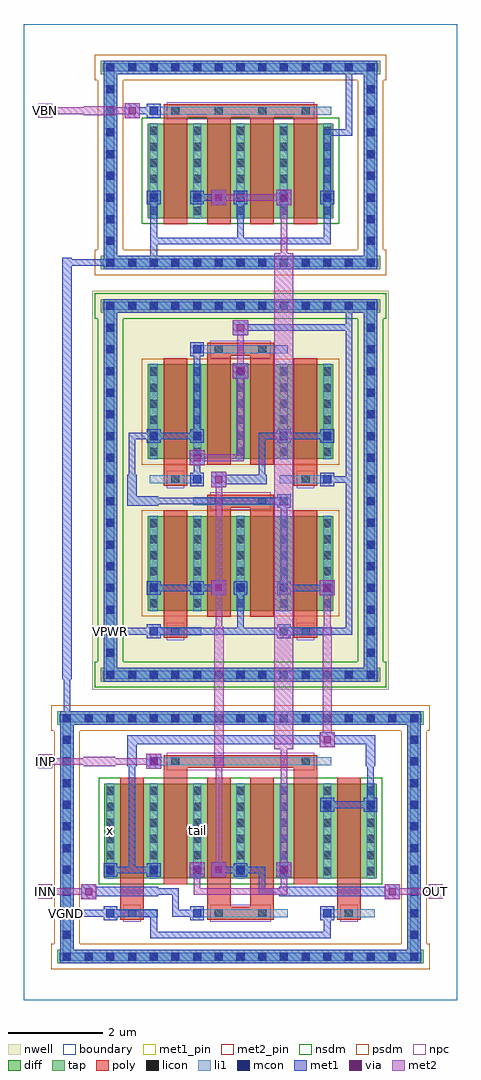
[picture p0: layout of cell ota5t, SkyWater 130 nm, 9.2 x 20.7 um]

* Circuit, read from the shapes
.subckt ota5t INN INP OUT VBN VGND VPWR tail x
XM1 x VGND x VGND sky130_fd_pr__nfet_01v8 w=2 l=0.5 m=2
XM2 tail INP x VGND sky130_fd_pr__nfet_01v8 w=2 l=0.5 m=2
XM3 tail VBN VGND VGND sky130_fd_pr__nfet_01v8 w=2 l=0.5 m=4
XM4 OUT INN tail VGND sky130_fd_pr__nfet_01v8 w=2 l=0.5 m=2
XM5 OUT VPWR OUT VPWR sky130_fd_pr__pfet_01v8 w=2 l=0.5 m=2
XM6 x VPWR x VPWR sky130_fd_pr__pfet_01v8 w=2 l=0.5 m=2
XM7 VPWR x OUT VPWR sky130_fd_pr__pfet_01v8 w=2 l=0.5 m=2
XM8 VPWR x x VPWR sky130_fd_pr__pfet_01v8 w=2 l=0.5 m=2
.ends

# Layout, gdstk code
import gdstk
lib = gdstk.Library(unit=1e-6, precision=1e-09)
def R(c, l, rs):  # rectangles x0, y0, x1, y1
    for r in rs: c.add(gdstk.rectangle(r[:2], r[2:], *l))
def A(c, l, x, y, w, h, nx, ny, dx, dy):  # array of equal rectangles
    R(c, l, [(x+i*dx, y+j*dy, x+i*dx+w, y+j*dy+h) for i in range(nx) for j in range(ny)])
nwell = (64, 20)
diff = (65, 20)
tap = (65, 44)
poly = (66, 20)
licon = (66, 44)
li1 = (67, 20)
mcon = (67, 44)
met1_pin = (68, 16)
met1 = (68, 20)
via = (68, 44)
met2_pin = (69, 16)
met2 = (69, 20)
nsdm = (93, 44)
psdm = (94, 20)
npc = (95, 20)
boundary = (235, 4)

ota5t = lib.new_cell('ota5t')
R(ota5t, nwell, [(1.455,6.575,7.745,15.045)])
R(ota5t, diff, [(1.715,2.585,7.485,4.585), (2.635,8.26,6.565,10.26), (2.635,11.48,6.565,13.48), (2.635,16.585,6.565,18.585)])
R(ota5t, tap, [(0.715,0.775,8.485,1.065), (0.775,0.775,1.065,6.125), (8.135,0.775,8.425,6.125), (0.715,5.835,8.485,6.125), (1.635,6.755,7.565,7.045), (1.695,6.755,1.985,14.865), (7.215,6.755,7.505,14.865), (1.635,14.575,7.565,14.865), (1.635,15.495,7.565,15.785), (1.695,15.495,1.985,19.925), (7.215,15.495,7.505,19.925), (1.635,19.635,7.565,19.925)])
A(ota5t, poly, 2.97, 16.455, 0.5, 2.405, 4, 1, 0.92, 0)
R(ota5t, poly, [(2.05,1.705,2.55,1.975), (3.89,1.705,5.31,1.975), (6.65,1.705,7.15,1.975), (2.05,1.84,2.55,4.715), (3.89,1.84,4.39,4.715), (4.81,1.84,5.31,4.715), (6.65,1.84,7.15,4.715), (2.97,2.455,3.47,5.06), (5.73,2.455,6.23,5.06), (2.97,4.925,6.23,5.195), (2.97,7.685,3.47,7.955), (5.73,7.685,6.23,7.955), (2.97,7.82,3.47,10.39), (5.73,7.82,6.23,10.39), (3.89,8.13,4.39,10.58), (4.81,8.13,5.31,10.58), (3.89,10.445,5.31,10.715), (2.97,10.905,3.47,11.175), (5.73,10.905,6.23,11.175), (2.97,11.04,3.47,13.61), (5.73,11.04,6.23,13.61), (3.89,11.35,4.39,13.8), (4.81,11.35,5.31,13.8), (3.89,13.665,5.31,13.935), (2.97,18.725,6.23,18.995)])
A(ota5t, licon, 0.835, 0.835, 0.17, 0.17, 17, 2, 0.46, 5.06)
A(ota5t, licon, 0.835, 1.295, 0.17, 0.17, 1, 10, 0, 0.46)
A(ota5t, licon, 8.195, 1.295, 0.17, 0.17, 1, 10, 0, 0.46)
A(ota5t, licon, 1.755, 2.65, 0.17, 0.17, 7, 6, 0.92, 0.34)
A(ota5t, licon, 1.755, 6.815, 0.17, 0.17, 13, 2, 0.46, 7.82)
A(ota5t, licon, 1.755, 7.275, 0.17, 0.17, 1, 16, 0, 0.46)
A(ota5t, licon, 7.275, 7.275, 0.17, 0.17, 1, 16, 0, 0.46)
A(ota5t, licon, 2.675, 8.325, 0.17, 0.17, 5, 6, 0.92, 0.34)
A(ota5t, licon, 2.675, 11.545, 0.17, 0.17, 5, 6, 0.92, 0.34)
A(ota5t, licon, 1.755, 15.555, 0.17, 0.17, 13, 2, 0.46, 4.14)
A(ota5t, licon, 1.755, 16.015, 0.17, 0.17, 1, 8, 0, 0.46)
A(ota5t, licon, 7.275, 16.015, 0.17, 0.17, 1, 8, 0, 0.46)
A(ota5t, licon, 2.675, 16.65, 0.17, 0.17, 5, 6, 0.92, 0.34)
A(ota5t, licon, 3.135, 18.775, 0.17, 0.17, 4, 1, 0.92, 0)
R(ota5t, licon, [(2.215,1.755,2.385,1.925), (4.055,1.755,4.225,1.925), (4.975,1.755,5.145,1.925), (6.815,1.755,6.985,1.925), (3.135,4.975,3.305,5.145), (5.895,4.975,6.065,5.145), (3.135,7.735,3.305,7.905), (5.895,7.735,6.065,7.905), (4.055,10.495,4.225,10.665), (4.975,10.495,5.145,10.665), (3.135,10.955,3.305,11.125), (5.895,10.955,6.065,11.125), (4.055,13.715,4.225,13.885), (4.975,13.715,5.145,13.885)])
A(ota5t, li1, 1.755, 2.57, 0.17, 2.03, 7, 1, 0.92, 0)
A(ota5t, li1, 2.675, 8.245, 0.17, 2.03, 5, 2, 0.92, 3.22)
A(ota5t, li1, 2.675, 16.57, 0.17, 2.03, 5, 1, 0.92, 0)
R(ota5t, li1, [(0.755,0.835,8.445,1.005), (0.835,0.835,1.005,6.065), (8.195,0.835,8.365,6.065), (1.755,1.755,2.845,1.925), (3.595,1.755,5.605,1.925), (6.355,1.755,7.445,1.925), (2.675,4.975,6.525,5.145), (0.755,5.895,8.445,6.065), (1.675,6.815,7.525,6.985), (1.755,6.815,1.925,14.805), (7.275,6.815,7.445,14.805), (2.675,7.735,3.765,7.905), (5.435,7.735,6.525,7.905), (3.595,10.495,5.605,10.665), (2.675,10.955,3.765,11.125), (5.435,10.955,6.525,11.125), (3.595,13.715,5.605,13.885), (1.675,14.635,7.525,14.805), (1.675,15.555,7.525,15.725), (1.755,15.555,1.925,19.865), (7.275,15.555,7.445,19.865), (2.675,18.775,6.525,18.945), (1.675,19.695,7.525,19.865)])
A(ota5t, mcon, 0.835, 0.835, 0.17, 0.17, 17, 2, 0.46, 5.06)
A(ota5t, mcon, 0.835, 1.295, 0.17, 0.17, 1, 3, 0, 0.46)
A(ota5t, mcon, 8.195, 1.295, 0.17, 0.17, 1, 6, 0, 0.46)
A(ota5t, mcon, 0.835, 2.675, 0.17, 0.17, 6, 1, 0.92, 0)
A(ota5t, mcon, 0.835, 3.135, 0.17, 0.17, 1, 6, 0, 0.46)
A(ota5t, mcon, 6.355, 4.055, 0.17, 0.17, 3, 1, 0.92, 0)
A(ota5t, mcon, 8.195, 4.515, 0.17, 0.17, 1, 3, 0, 0.46)
A(ota5t, mcon, 1.755, 6.815, 0.17, 0.17, 13, 2, 0.46, 7.82)
A(ota5t, mcon, 1.755, 7.275, 0.17, 0.17, 1, 3, 0, 0.46)
A(ota5t, mcon, 7.275, 7.275, 0.17, 0.17, 1, 3, 0, 0.46)
A(ota5t, mcon, 1.755, 8.655, 0.17, 0.17, 7, 2, 0.92, 8.28)
A(ota5t, mcon, 1.755, 9.115, 0.17, 0.17, 1, 6, 0, 0.46)
A(ota5t, mcon, 7.275, 9.115, 0.17, 0.17, 1, 6, 0, 0.46)
A(ota5t, mcon, 1.755, 11.875, 0.17, 0.17, 3, 1, 0.92, 0)
A(ota5t, mcon, 5.435, 11.875, 0.17, 0.17, 3, 1, 0.92, 0)
A(ota5t, mcon, 1.755, 13.255, 0.17, 0.17, 3, 1, 2.76, 0)
A(ota5t, mcon, 1.755, 15.555, 0.17, 0.17, 13, 2, 0.46, 4.14)
A(ota5t, mcon, 1.755, 17.395, 0.17, 0.17, 1, 5, 0, 0.46)
A(ota5t, mcon, 7.275, 17.395, 0.17, 0.17, 1, 5, 0, 0.46)
R(ota5t, mcon, [(1.755,1.755,1.925,1.925), (3.595,1.755,3.765,1.925), (6.355,1.755,6.525,1.925), (2.675,4.975,2.845,5.145), (2.675,7.735,2.845,7.905), (5.435,7.735,5.605,7.905), (5.435,10.495,5.605,10.665), (3.595,10.955,3.765,11.125), (6.355,10.955,6.525,11.125), (1.755,12.335,1.925,12.505), (7.275,12.335,7.445,12.505), (1.755,12.795,1.925,12.965), (7.275,12.795,7.445,12.965), (1.755,13.715,1.925,13.885), (3.595,13.715,3.765,13.885), (7.275,13.715,7.445,13.885), (1.755,14.175,1.925,14.345), (7.275,14.175,7.445,14.345), (1.755,16.015,1.925,16.185), (7.275,16.015,7.445,16.185), (1.755,16.475,1.925,16.645), (7.275,16.475,7.445,16.645), (2.675,18.775,2.845,18.945)])
R(ota5t, met1_pin, [(0.85,1.77,0.99,1.91), (1.77,7.75,1.91,7.89)])
A(ota5t, met1, 1.695, 2.615, 0.29, 0.29, 5, 1, 0.92, 0)
A(ota5t, met1, 2.615, 8.595, 0.29, 0.29, 5, 2, 0.92, 8.28)
R(ota5t, met1, [(0.775,0.775,8.425,1.065), (0.775,0.775,1.065,6.125), (8.135,0.775,8.425,6.125), (2.69,1.31,6.51,1.45), (2.69,1.31,2.83,1.91), (6.37,1.31,6.51,1.91), (1.695,1.695,1.985,1.985), (3.535,1.695,3.825,1.985), (6.295,1.695,6.585,1.985), (0.85,1.77,0.99,1.91), (0.85,1.77,1.91,1.91), (0.85,1.77,0.99,6.05), (1.77,1.77,2.83,1.91), (3.15,1.77,3.75,1.91), (3.15,1.77,3.29,2.37), (1.22,2.14,1.54,2.46), (7.66,2.14,7.98,2.46), (1.28,2.2,2.86,2.4), (5.42,2.2,7.92,2.4), (2.69,2.23,3.29,2.37), (4.99,2.23,5.59,2.37), (4.99,2.23,5.13,2.83), (3.52,2.6,3.84,2.92), (3.98,2.6,4.3,2.92), (5.36,2.6,5.68,2.92), (1.77,2.69,2.83,2.83), (2.23,2.69,2.37,5.13), (4.07,2.69,4.67,2.83), (4.53,2.69,5.13,2.83), (6.295,3.995,6.585,4.285), (7.215,3.995,7.505,4.285), (6.37,4.07,7.43,4.21), (7.29,4.07,7.43,5.13), (2.6,4.9,2.92,5.22), (2.615,4.915,2.905,5.205), (2.2,4.96,2.4,5.62), (7.26,4.96,7.46,5.62), (6.28,5.36,6.6,5.68), (2.2,5.42,7.46,5.62), (0.775,5.835,8.425,6.125), (0.85,5.91,0.99,6.97), (0.85,5.91,0.99,6.05), (1.695,6.755,7.505,7.045), (1.695,6.755,1.985,14.865), (7.215,6.755,7.505,14.865), (0.82,6.8,1.02,15.74), (2.615,7.675,2.905,7.965), (5.375,7.675,5.665,7.965), (1.77,7.75,1.91,7.89), (1.77,7.75,2.83,7.89), (2.69,7.75,5.59,7.89), (4.53,7.75,4.67,8.81), (5.45,7.75,6.97,7.89), (6.83,7.75,6.97,11.11), (3.98,8.58,4.3,8.9), (6.28,8.58,6.6,8.9), (2.69,8.67,3.75,8.81), (3.61,8.67,4.21,8.81), (5.45,8.67,5.59,10.65), (5.45,8.67,6.51,8.81), (5.375,10.435,5.665,10.725), (2.2,10.48,2.4,11.14), (2.2,10.48,2.86,10.68), (2.69,10.51,5.59,10.65), (3.98,10.88,4.3,11.2), (3.535,10.895,3.825,11.185), (6.295,10.895,6.585,11.185), (4.04,10.94,5.16,11.14), (2.23,10.97,2.37,12.03), (3.61,10.97,3.75,11.57), (4.99,10.97,5.13,12.03), (6.37,10.97,6.97,11.11), (6.83,10.97,6.97,14.79), (3.52,11.34,3.84,11.66), (2.615,11.815,2.905,12.105), (3.535,11.815,3.825,12.105), (5.375,11.815,5.665,12.105), (6.295,11.815,6.585,12.105), (2.23,11.89,2.83,12.03), (2.69,11.89,3.75,12.03), (3.61,11.89,3.75,13.87), (4.99,11.89,5.59,12.03), (5.45,11.89,6.51,12.03), (4.44,13.18,4.76,13.5), (4.455,13.195,4.745,13.485), (3.535,13.655,3.825,13.945), (4.44,14.1,4.76,14.42), (4.53,14.19,6.97,14.33), (1.695,14.575,7.505,14.865), (6.83,14.65,6.97,14.79), (1.695,15.495,7.505,15.785), (1.695,15.495,1.985,19.925), (7.215,15.495,7.505,19.925), (0.85,15.57,1.91,15.71), (1.77,15.57,1.91,15.71), (1.77,15.57,2.83,15.71), (2.69,15.57,2.83,17.09), (2.69,16.03,4.67,16.17), (4.53,16.03,4.67,17.09), (4.53,16.03,6.51,16.17), (6.37,16.03,6.51,17.09), (3.98,16.86,4.3,17.18), (5.36,16.86,5.68,17.18), (3.61,16.95,4.21,17.09), (6.37,16.95,6.51,18.47), (6.37,18.33,6.97,18.47), (6.83,18.33,6.97,19.85), (2.14,18.7,2.46,19.02), (2.615,18.715,2.905,19.005), (2.23,18.79,2.83,18.93), (1.695,19.635,7.505,19.925), (6.83,19.71,6.97,19.85)])
R(ota5t, via, [(1.305,2.225,1.455,2.375), (7.745,2.225,7.895,2.375), (3.605,2.685,3.755,2.835), (4.065,2.685,4.215,2.835), (5.445,2.685,5.595,2.835), (2.685,4.985,2.835,5.135), (6.365,5.445,6.515,5.595), (4.065,8.665,4.215,8.815), (6.365,8.665,6.515,8.815), (4.065,10.965,4.215,11.115), (3.605,11.425,3.755,11.575), (4.525,13.265,4.675,13.415), (4.525,14.185,4.675,14.335), (4.065,16.945,4.215,17.095), (5.445,16.945,5.595,17.095), (2.225,18.785,2.375,18.935)])
R(ota5t, met2_pin, [(0.31,2.15,0.61,2.45), (8.59,2.15,8.89,2.45), (0.31,4.91,0.61,5.21), (0.31,18.71,0.61,19.01)])
R(ota5t, met2, [(1.22,2.14,1.54,2.46), (7.66,2.14,7.98,2.46), (0.31,2.15,0.61,2.45), (8.59,2.15,8.89,2.45), (0.39,2.23,0.53,2.37), (0.39,2.23,1.45,2.37), (3.61,2.23,3.75,2.83), (3.61,2.23,5.59,2.37), (5.45,2.23,5.59,2.83), (7.75,2.23,8.81,2.37), (8.67,2.23,8.81,2.37), (3.52,2.6,3.84,2.92), (3.98,2.6,4.3,2.92), (5.36,2.6,5.68,2.92), (4.07,2.69,4.21,5.13), (5.45,2.69,5.59,5.59), (2.6,4.9,2.92,5.22), (0.31,4.91,0.61,5.21), (1.28,4.96,1.94,5.16), (4.04,4.96,4.24,7.92), (0.39,4.99,0.53,5.13), (0.39,4.99,1.45,5.13), (1.77,4.99,2.83,5.13), (5.32,5.32,5.72,15.84), (6.28,5.36,6.6,5.68), (6.34,5.42,6.54,7.92), (4.07,7.75,4.21,8.81), (6.37,7.75,6.51,8.81), (3.98,8.58,4.3,8.9), (6.28,8.58,6.6,8.9), (4.07,8.67,4.21,11.11), (3.98,10.88,4.3,11.2), (3.52,11.34,3.84,11.66), (3.61,11.43,4.67,11.57), (4.53,11.43,4.67,13.41), (4.44,13.18,4.76,13.5), (4.53,13.27,4.67,14.33), (4.44,14.1,4.76,14.42), (5.45,15.57,5.59,17.09), (3.98,16.86,4.3,17.18), (5.36,16.86,5.68,17.18), (4.07,16.95,5.59,17.09), (2.14,18.7,2.46,19.02), (0.31,18.71,0.61,19.01), (1.28,18.76,1.94,18.96), (0.39,18.79,0.53,18.93), (0.39,18.79,1.45,18.93), (1.77,18.79,2.37,18.93)])
R(ota5t, nsdm, [(1.59,2.46,7.61,4.71), (1.51,6.63,7.69,7.17), (1.57,7.17,2.11,14.45), (7.09,7.17,7.63,14.45), (1.51,14.45,7.69,14.99), (2.51,16.46,6.69,18.71)])
R(ota5t, psdm, [(0.59,0.65,8.61,1.19), (0.65,1.19,1.19,5.71), (8.01,1.19,8.55,5.71), (0.59,5.71,8.61,6.25), (2.51,8.135,6.69,10.385), (2.51,11.355,6.69,13.605), (1.51,15.37,7.69,15.91), (1.57,15.91,2.11,19.51), (7.09,15.91,7.63,19.51), (1.51,19.51,7.69,20.05)])
R(ota5t, npc, [(2.115,1.655,2.485,2.025), (3.955,1.655,5.245,2.025), (6.715,1.655,7.085,2.025), (3.035,4.875,6.165,5.245), (3.035,7.635,3.405,8.005), (5.795,7.635,6.165,8.005), (3.955,10.395,5.245,10.765), (3.035,10.855,3.405,11.225), (5.795,10.855,6.165,11.225), (3.955,13.615,5.245,13.985), (3.035,18.675,6.165,19.045)])
R(ota5t, boundary, [(0,0,9.2,20.7)])
ota5t.add(gdstk.Label('x', (1.84,3.585), layer=67, texttype=5))
ota5t.add(gdstk.Label('tail', (3.68,3.585), layer=67, texttype=5))
ota5t.add(gdstk.Label('VPWR', (1.84,7.82), layer=68, texttype=5))
ota5t.add(gdstk.Label('VGND', (0.92,1.84), layer=68, texttype=5))
ota5t.add(gdstk.Label('INP', (0.46,5.06), layer=69, texttype=5))
ota5t.add(gdstk.Label('INN', (0.46,2.3), layer=69, texttype=5))
ota5t.add(gdstk.Label('VBN', (0.46,18.86), layer=69, texttype=5))
ota5t.add(gdstk.Label('OUT', (8.74,2.3), layer=69, texttype=5))
ota5t.add(gdstk.Label('VPWR', (1.84,7.82), layer=68, texttype=16))
ota5t.add(gdstk.Label('VGND', (0.92,1.84), layer=68, texttype=16))
ota5t.add(gdstk.Label('INP', (0.46,5.06), layer=69, texttype=16))
ota5t.add(gdstk.Label('INN', (0.46,2.3), layer=69, texttype=16))
ota5t.add(gdstk.Label('VBN', (0.46,18.86), layer=69, texttype=16))
ota5t.add(gdstk.Label('OUT', (8.74,2.3), layer=69, texttype=16))

lib.write_gds('ota5t.gds')
